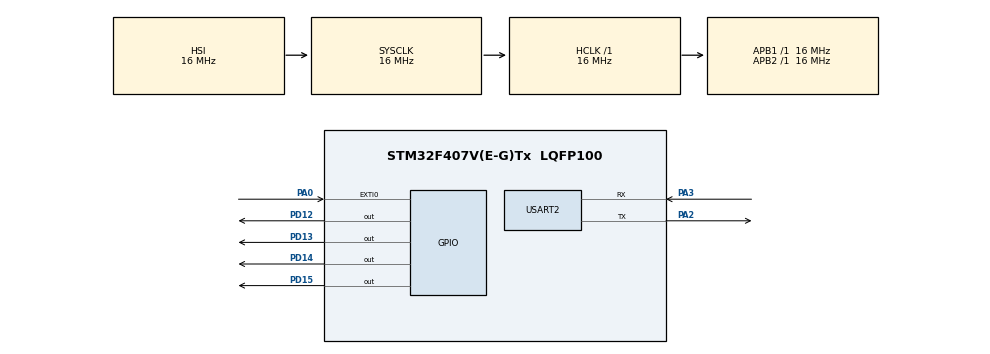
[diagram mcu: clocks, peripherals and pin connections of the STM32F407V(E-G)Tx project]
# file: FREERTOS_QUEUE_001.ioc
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FREERTOS.BinarySemaphores01=myBinarySem01,Dynamic,NULL,Available
FREERTOS.Queues01=myQueue01,5,uint8_t,0,Dynamic,NULL,NULL
FREERTOS.Tasks01=Task1,0,128,StartTask1,Default,NULL,Dynamic,NULL,NULL;Task2,0,128,StartTask2,Default,NULL,Dynamic,NULL,NULL
FREERTOS.configUSE_NEWLIB_REENTRANT=1
Mcu.Family=STM32F4
Mcu.Name=STM32F407V(E-G)Tx
Mcu.Package=LQFP100
NVIC.EXTI0_IRQn=true\:5\:0\:false\:false\:true\:true\:true\:true\:true
NVIC.PriorityGroup=NVIC_PRIORITYGROUP_4
NVIC.TIM6_DAC_IRQn=true\:15\:0\:false\:false\:true\:false\:false\:true\:true
NVIC.TimeBase=TIM6_DAC_IRQn
NVIC.TimeBaseIP=TIM6
NVIC.USART2_IRQn=true\:5\:0\:false\:false\:true\:true\:true\:true\:true
PA0-WKUP.Signal=GPXTI0
PA13.Mode=Serial_Wire
PA13.Signal=SYS_JTMS-SWDIO
PA14.Mode=Serial_Wire
PA14.Signal=SYS_JTCK-SWCLK
PA2.Mode=Asynchronous
PA2.Signal=USART2_TX
PA3.Mode=Asynchronous
PA3.Signal=USART2_RX
PD12.Signal=GPIO_Output
PD13.Signal=GPIO_Output
PD14.Signal=GPIO_Output
PD15.Signal=GPIO_Output
PH0-OSC_IN.Mode=HSE-External-Oscillator
PH0-OSC_IN.Signal=RCC_OSC_IN
PH1-OSC_OUT.Mode=HSE-External-Oscillator
PH1-OSC_OUT.Signal=RCC_OSC_OUT
ProjectManager.HeapSize=0x200
ProjectManager.StackSize=0x400
ProjectManager.TargetToolchain=STM32CubeIDE
RCC.AHBFreq_Value=16000000
RCC.APB1Freq_Value=16000000
RCC.APB2Freq_Value=16000000
RCC.CortexFreq_Value=16000000
RCC.HSE_VALUE=25000000
RCC.HSI_VALUE=16000000
RCC.LSE_VALUE=32768
RCC.SYSCLKFreq_VALUE=16000000
RCC.VCOOutputFreq_Value=192000000
USART2.VirtualMode=VM_ASYNC
VP_FREERTOS_VS_CMSIS_V1.Mode=CMSIS_V1
VP_SYS_VS_tim6.Mode=TIM6
board=custom

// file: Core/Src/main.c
/* USER CODE BEGIN Header */
/**
  ******************************************************************************
  * @file           : main.c
  * @brief          : Main program body
  ******************************************************************************
  * @attention
  *
  * Copyright (c) 2024 STMicroelectronics.
  * All rights reserved.
  *
  * This software is licensed under terms that can be found in the LICENSE file
  * in the root directory of this software component.
  * If no LICENSE file comes with this software, it is provided AS-IS.
  *
  ******************************************************************************
  */
/* USER CODE END Header */
#include "main.h"
#include "cmsis_os.h"

/* USER CODE BEGIN Includes */

#include "FreeRTOS.h"
#include "task.h"
#include "timers.h"
#include "queue.h"
#include "semphr.h"
#include "event_groups.h"

#include "string.h"
#include "stdio.h"
#include "stdlib.h"
#include "stdint.h"

/* USER CODE END Includes */

UART_HandleTypeDef huart2;

//osThreadId Task1Handle;
osThreadId Task2Handle;
osMessageQId myQueue01Handle;
osSemaphoreId myBinarySem01Handle;
/* USER CODE BEGIN PV */

// void RTOSTask1(void* argument);
// void RTOSTask2(void* argument);

// xTaskHandle task1Handle;
// xTaskHandle task2Handle;

// xQueueHandle  queueHandle;

// xSemaphoreHandle semaphoreHandle;

/* USER CODE END PV */

void SystemClock_Config(void);
static void MX_GPIO_Init(void);
static void MX_USART2_UART_Init(void);
//void StartTask1(void const * argument);
void StartTask2(void const * argument);

/* USER CODE BEGIN 0 */

// char receiveData;

/* USER CODE END 0 */

int main(void)
{

  /* MCU Configuration--------------------------------------------------------*/

  /* Reset of all peripherals, Initializes the Flash interface and the Systick. */
  HAL_Init();

  /* Configure the system clock */
  SystemClock_Config();

  /* Initialize all configured peripherals */
  MX_GPIO_Init();
  MX_USART2_UART_Init();

  /* Create the semaphores(s) */
  /* definition and creation of myBinarySem01 */
  osSemaphoreDef(myBinarySem01);
  myBinarySem01Handle = osSemaphoreCreate(osSemaphore(myBinarySem01), 1);

  /* Create the queue(s) */
  /* definition and creation of myQueue01 */
  osMessageQDef(myQueue01, 5, uint8_t);
  myQueue01Handle = osMessageCreate(osMessageQ(myQueue01), NULL);

  /* Create the thread(s) */
  /* definition and creation of Task1 */
//  osThreadDef(Task1, StartTask1, osPriorityNormal, 0, 128);
//  Task1Handle = osThreadCreate(osThread(Task1), NULL);

  /* definition and creation of Task2 */
  osThreadDef(Task2, StartTask2, osPriorityNormal, 0, 128);
  Task2Handle = osThreadCreate(osThread(Task2), NULL);

  /* USER CODE BEGIN RTOS_THREADS */

  /*
  xTaskCreate(RTOSTask1, "task1", 128, NULL, 1, &task1Handle);
  xTaskCreate(RTOSTask2, "task2", 128, NULL, 1, &task2Handle);

  queueHandle = xQueueCreate(5,sizeof(int));

  if (queueHandle == 0)  // Queue not created
  {
	  char *str = "Unable to create Integer Queue\n\n";
	  HAL_UART_Transmit(&huart2, (uint8_t *)str, strlen (str), HAL_MAX_DELAY);
  }
  else	// Queue is created successfully
  {
	  char *str = "Integer Queue Created successfully\n\n";
	  HAL_UART_Transmit(&huart2, (uint8_t *)str, strlen (str), HAL_MAX_DELAY);
  }

  vTaskStartScheduler();
  */

  /* add threads, ... */
  /* USER CODE END RTOS_THREADS */

  /* Start scheduler */
  osKernelStart();

  /* We should never get here as control is now taken by the scheduler */

  /* Infinite loop */
  while (1)
  {

  }
}

void SystemClock_Config(void)
{
  RCC_OscInitTypeDef RCC_OscInitStruct = {0};
  RCC_ClkInitTypeDef RCC_ClkInitStruct = {0};

  /** Configure the main internal regulator output voltage
  */
  __HAL_RCC_PWR_CLK_ENABLE();
  __HAL_PWR_VOLTAGESCALING_CONFIG(PWR_REGULATOR_VOLTAGE_SCALE1);

  /** Initializes the RCC Oscillators according to the specified parameters
  * in the RCC_OscInitTypeDef structure.
  */
  RCC_OscInitStruct.OscillatorType = RCC_OSCILLATORTYPE_HSI;
  RCC_OscInitStruct.HSIState = RCC_HSI_ON;
  RCC_OscInitStruct.HSICalibrationValue = RCC_HSICALIBRATION_DEFAULT;
  RCC_OscInitStruct.PLL.PLLState = RCC_PLL_NONE;
  if (HAL_RCC_OscConfig(&RCC_OscInitStruct) != HAL_OK)
  {
    Error_Handler();
  }

  /** Initializes the CPU, AHB and APB buses clocks
  */
  RCC_ClkInitStruct.ClockType = RCC_CLOCKTYPE_HCLK|RCC_CLOCKTYPE_SYSCLK
                              |RCC_CLOCKTYPE_PCLK1|RCC_CLOCKTYPE_PCLK2;
  RCC_ClkInitStruct.SYSCLKSource = RCC_SYSCLKSOURCE_HSI;
  RCC_ClkInitStruct.AHBCLKDivider = RCC_SYSCLK_DIV1;
  RCC_ClkInitStruct.APB1CLKDivider = RCC_HCLK_DIV1;
  RCC_ClkInitStruct.APB2CLKDivider = RCC_HCLK_DIV1;

  if (HAL_RCC_ClockConfig(&RCC_ClkInitStruct, FLASH_LATENCY_0) != HAL_OK)
  {
    Error_Handler();
  }
}

static void MX_USART2_UART_Init(void)
{

  huart2.Instance = USART2;
  huart2.Init.BaudRate = 115200;
  huart2.Init.WordLength = UART_WORDLENGTH_8B;
  huart2.Init.StopBits = UART_STOPBITS_1;
  huart2.Init.Parity = UART_PARITY_NONE;
  huart2.Init.Mode = UART_MODE_TX_RX;
  huart2.Init.HwFlowCtl = UART_HWCONTROL_NONE;
  huart2.Init.OverSampling = UART_OVERSAMPLING_16;
  if (HAL_UART_Init(&huart2) != HAL_OK)
  {
    Error_Handler();
  }

}

static void MX_GPIO_Init(void)
{
  GPIO_InitTypeDef GPIO_InitStruct = {0};

  /* GPIO Ports Clock Enable */
  __HAL_RCC_GPIOH_CLK_ENABLE();
  __HAL_RCC_GPIOA_CLK_ENABLE();
  __HAL_RCC_GPIOD_CLK_ENABLE();

  /*Configure GPIO pin Output Level */
  HAL_GPIO_WritePin(GPIOD, GPIO_PIN_12|GPIO_PIN_13|GPIO_PIN_14|GPIO_PIN_15, GPIO_PIN_RESET);

  /*Configure GPIO pin : PA0 */
  GPIO_InitStruct.Pin = GPIO_PIN_0;
  GPIO_InitStruct.Mode = GPIO_MODE_IT_RISING;
  GPIO_InitStruct.Pull = GPIO_NOPULL;
  HAL_GPIO_Init(GPIOA, &GPIO_InitStruct);

  /*Configure GPIO pins : PD12 PD13 PD14 PD15 */
  GPIO_InitStruct.Pin = GPIO_PIN_12|GPIO_PIN_13|GPIO_PIN_14|GPIO_PIN_15;
  GPIO_InitStruct.Mode = GPIO_MODE_OUTPUT_PP;
  GPIO_InitStruct.Pull = GPIO_NOPULL;
  GPIO_InitStruct.Speed = GPIO_SPEED_FREQ_LOW;
  HAL_GPIO_Init(GPIOD, &GPIO_InitStruct);

  /* EXTI interrupt init*/
  HAL_NVIC_SetPriority(EXTI0_IRQn, 5, 0);
  HAL_NVIC_EnableIRQ(EXTI0_IRQn);

}

/* USER CODE BEGIN 4 */
/*
void RTOSTask1(void* argument)
{
	int receivedValue = 0;
	uint32_t TickDelay = pdMS_TO_TICKS(20);
	// int transmitValue = 555;

	while(1)
	{
		if(xSemaphoreTake(semaphoreHandle,portMAX_DELAY) == pdTRUE)
		{
			// char *ptx1 = "Task 1 is executed";
			// HAL_UART_Transmit(&huart2, (uint8_t *)ptx1, 18, 500);

			xQueueReceive(queueHandle, &receivedValue, portMAX_DELAY);

			// xQueueSend(queueHandle,&transmitValue,portMAX_DELAY);

			// char *ptx3 = NULL;
			// sprintf(ptx3,"Successfully received the number %d to the queue.\nLeaving Task 1\n\n\n",receivedValue);
		    // HAL_UART_Transmit(&huart2, (uint8_t *)ptx3, 67, 500);
		}

		vTaskDelay(TickDelay);
	}

}

void RTOSTask2(void* argument)
{
	int i = 222;
	uint32_t TickDelay = pdMS_TO_TICKS(1000);

	while(1)
	{
//		if(xQueueSend(queueHandle,(void *)&i,portMAX_DELAY) == pdPASS)
//		{
//			// char *ptx2 = "Data is sent successfully by task 2.\nLeaving task 2.\n\n\n";
//			// HAL_UART_Transmit(&huart2, (uint8_t *)ptx2,55 , 500);
//		}

		xQueueSend(queueHandle,(void *)&i,portMAX_DELAY);
		vTaskDelay(TickDelay);
	}
}
*/
// Interrupt Service Routine Number 1
void HAL_GPIO_EXTI_Callback(uint16_t GPIO_Pin)
{

	BaseType_t xHigherPriorityTaskWoken = pdFALSE;

	// Assuming xSemaphore is your semaphore handle
	xSemaphoreGiveFromISR(myBinarySem01Handle, &xHigherPriorityTaskWoken);

	// If xHigherPriorityTaskWoken was set to true, a context switch should be requested
	portYIELD_FROM_ISR(xHigherPriorityTaskWoken);
}

// Interrupt Service Routine Number 2
void HAL_UART_RxCpltCallback(UART_HandleTypeDef *huart)
{
	//HAL_UART_Receive_IT(&huart2,(uint8_t *)&receiveData, 1);

//	int sendDatabyUART = 111;
//	if(receiveData == 'r')
//	{
//		BaseType_t xHigherPriorityTaskWoken = pdFALSE;
//
//		if (xQueueSendToFrontFromISR(myQueue01Handle, &sendDatabyUART, &xHigherPriorityTaskWoken) == pdPASS)
//		{
//			HAL_UART_Transmit(huart, (uint8_t *)"\n\nSent from ISR\n\n", 17, 500);
//		}
//
//		portEND_SWITCHING_ISR(xHigherPriorityTaskWoken);
//	}

}

/* USER CODE END 4 */

//void StartTask1(void const * argument)
//{
//  /* USER CODE BEGIN 5 */
//////  /* Infinite loop */
//
//	int receivedValue = 0;
//	uint32_t TickDelay = pdMS_TO_TICKS(20);
//		// int transmitValue = 555;
//
//	while(1)
//	{
//		if(xSemaphoreTake(myBinarySem01Handle,) == pdTRUE)
//		{
//			// char *ptx1 = "Task 1 is executed";
//			// HAL_UART_Transmit(&huart2, (uint8_t *)ptx1, 18, 500);
//
//			xQueueReceive(myQueue01Handle, &receivedValue, portMAX_DELAY);
//
//			// xQueueSend(queueHandle,&transmitValue,portMAX_DELAY);
//
//			// char *ptx3 = NULL;
//			// sprintf(ptx3,"Successfully received the number %d to the queue.\nLeaving Task 1\n\n\n",receivedValue);
//			// HAL_UART_Transmit(&huart2, (uint8_t *)ptx3, 67, 500);
//		}
//
//		vTaskDelay(TickDelay);
//	}
//  /* USER CODE END 5 */
//}

void StartTask2(void const * argument)
{
  /* USER CODE BEGIN StartTask2 */
////  /* Infinite loop */
//	int i = 222;
	uint32_t TickDelay = pdMS_TO_TICKS(1);

	while(1)
	{
	//		if(xQueueSend(queueHandle,(void *)&i,portMAX_DELAY) == pdPASS)
	//		{
	//			// char *ptx2 = "Data is sent successfully by task 2.\nLeaving task 2.\n\n\n";
	//			// HAL_UART_Transmit(&huart2, (uint8_t *)ptx2,55 , 500);
	//		}
		if(xSemaphoreTake(myBinarySem01Handle,0) == pdTRUE)
		{
			HAL_GPIO_TogglePin(GPIOD,GPIO_PIN_12);
		}
		// xQueueSend(myQueue01Handle,(void *)&i,portMAX_DELAY);
		vTaskDelay(TickDelay);
	}
  /* USER CODE END StartTask2 */
}

void HAL_TIM_PeriodElapsedCallback(TIM_HandleTypeDef *htim)
{
  if (htim->Instance == TIM6) {
    HAL_IncTick();
  }
}

void Error_Handler(void)
{
  __disable_irq();
  while (1)
  {
  }
}
